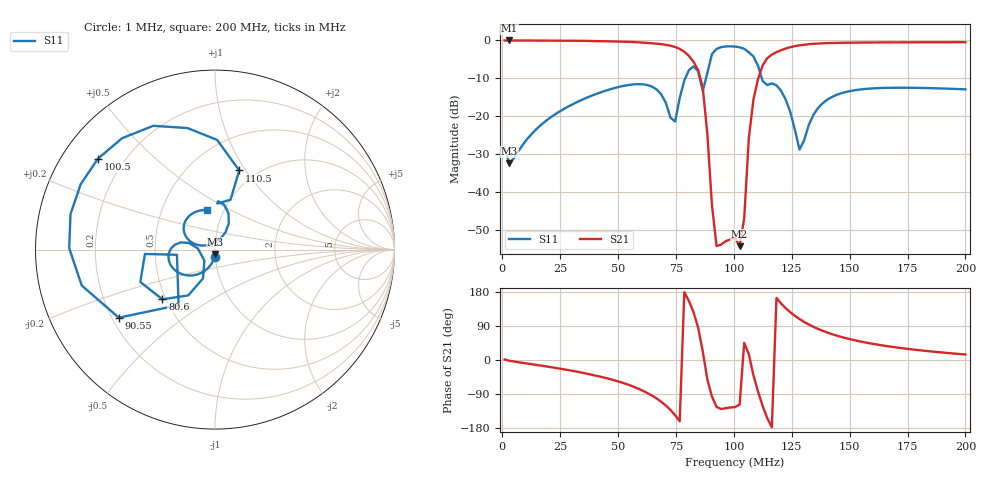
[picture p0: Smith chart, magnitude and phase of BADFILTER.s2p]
!File created by NanoVNA
# Hz S RI R 50
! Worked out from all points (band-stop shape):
!   101 points, 1 MHz to 200 MHz, reference 50 ohm
!   highest |S21| = -0.05 dB at 2.99 MHz (marker M1); lowest = -54.2 dB at 102.5 MHz (marker M2)
!   |S21| within 3 dB of the highest: start of sweep to 78.65 MHz; 118.7 MHz to end of sweep
!   lowest |S11| = -32.4 dB at 2.99 MHz (marker M3), VSWR 1.05, Z = 50 - j2.39 ohm
!   |S11| at or under -10 dB: start of sweep to 79.04 MHz; 85.28 MHz to 87.99 MHz (2.71 MHz wide, 3.13 % of centre); 112.1 MHz to end of sweep
!   S12 and S22 are empty: the file has one direction only
!   S11 on the Smith chart (normalised r, x): 1 MHz: 1.00, -0.08; 80.6 MHz: 0.48, -0.32; 90.55 MHz: 0.23, -0.30; 100.5 MHz: 0.11, +0.34; 110.5 MHz: 0.84, +0.94; 200 MHz: 0.83, +0.39
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1000000  0.00156 -0.0387  0.9932 0.0242  0 0  0 0
2990000  0.00046 -0.0239  0.9933 -0.0323  0 0  0 0
3.483e7  -0.0948 -0.1371  0.8144 -0.5489  0 0  0 0
5.473e7  -0.2382 -0.0993  0.3878 -0.8685  0 0  0 0
6.866e7  -0.1893 0.0403  -0.3079 -0.8326  0 0  0 0
7.463e7  -0.0592 -0.061  -0.6721 -0.4611  0 0  0 0
8.06e7  -0.2932 -0.2769  -0.5662 0.2569  0 0  0 0
8.458e7  -0.3903 -0.0241  0.0342 0.4027  0 0  0 0
8.657e7  -0.212 -0.029  0.22 0.0937  0 0  0 0
9.055e7  -0.536 -0.3794  -0.000764 -0.00669  0 0  0 0
9.254e7  -0.7424 -0.2001  -0.00108 -0.00162  0 0  0 0
1.005e8  -0.652 0.5066  -0.0014 -0.00206  0 0  0 0
1.0249e8  -0.5181 0.6203  -0.000899 -0.00172  0 0  0 0
1.0448e8  -0.3439 0.6898  0.00319 0.00322  0 0  0 0
1.0647e8  -0.1528 0.6771  0.0493 0.0136  0 0  0 0
1.1045e8  0.1351 0.441  0.0364 -0.3067  0 0  0 0
1.1244e8  0.0863 0.2775  -0.2429 -0.3992  0 0  0 0
1.1841e8  0.0512 0.2496  -0.6698 0.1935  0 0  0 0
1.2836e8  -0.00615 0.0358  -0.267 0.816  0 0  0 0
1.3433e8  -0.1002 0.0267  0.0355 0.8975  0 0  0 0
1.6816e8  -0.1372 0.1929  0.7693 0.536  0 0  0 0
2e8  -0.0473 0.2206  0.912 0.2372  0 0  0 0
